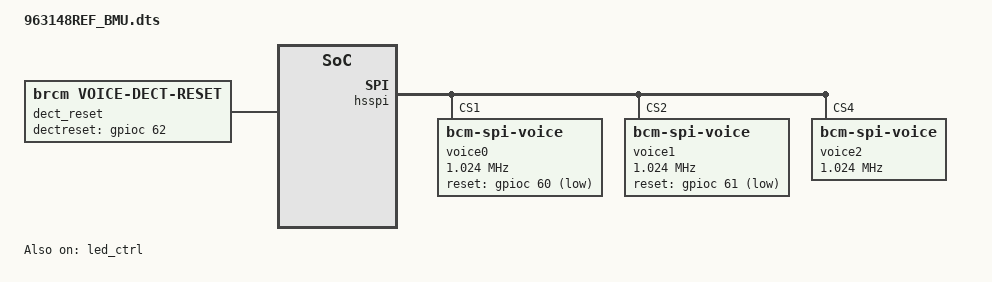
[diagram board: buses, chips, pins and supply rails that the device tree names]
#include "63148.dtsi"
#include "../bcm_voice.dtsi"

/ {
    memory_controller {
        memcfg = <(BP_DDR_SPEED_800_11_11_11 | \
                   BP_DDR_TOTAL_SIZE_1024MB  | \
                   BP_DDR_DEVICE_WIDTH_8)>;
    };

	buttons {
		compatible = "brcm,buttons";
		reset_button {
			ext_irq = <&bca_extintr 32 BCA_GPIO_ACTIVE_LOW (BCA_EXTINTR_TYPE_LOW_LEVEL | BCA_EXTINTR_TYPE_SENSE_LEVEL)>;
			press {
				print = "Button Press -- Hold for 5s to do restore to default";
			};
			hold {
				rst_to_dflt = <5>;
			};
			release {
				reset = <0>;
			};	
		};
		ses_button {
			ext_irq = <&bca_extintr 33 BCA_GPIO_ACTIVE_LOW (BCA_EXTINTR_TYPE_LOW_LEVEL | BCA_EXTINTR_TYPE_SENSE_LEVEL)>;
			release {
				ses_short_period = <0>;
				ses_long_period = <3>;
			};
		};
	};
	dect_reset:dect_reset {
		compatible = "brcm,voice-dect-reset";
		dectreset-gpio = <&gpioc 62 GPIO_ACTIVE_HIGH>;
	};
};

&bcm_voice{
	sliclist = SLICSLAC_LIST_COMMON_FXO;
 };

&hsspi {
	status = "okay";
	voice0 {
		pinctrl-0 = <&a_spim_ss1_b_pin_127>;
		pinctrl-names = "default";
		compatible = "bcm-spi-voice";
		reg = <1>; /* chip select 1 */
		spi-max-frequency = <1024000>;
		reset-gpio = <&gpioc 60 GPIO_ACTIVE_LOW>;
		spi-index = <0>;/* voice header index */
	};
	voice1 {
		pinctrl-0 = <&spim_ss2_b_pin_10>;
		pinctrl-names = "default";
		compatible = "bcm-spi-voice";
		reg = <2>; /* chip select 2 */
		spi-max-frequency = <1024000>;
		reset-gpio = <&gpioc 61 GPIO_ACTIVE_LOW>;
		spi-index = <1>;/* voice header index */
	};
	voice2 {
		pinctrl-0 = <&spim_ss4_b_pin_8>;
		pinctrl-names = "default";
		compatible = "bcm-spi-voice";
		reg = <4>; /* chip select 2 */
		spi-max-frequency = <1024000>;
		/*reset-gpio = NA;*/
		spi-index = <2>;/* voice header index */
	};
};

&legacy_leds {
	adsl-led = <&led12>;
	adsl-sec-led = <&led13>;
	wl-sess-led = <&led16>;
	voip1-ok-led = <&led17>;
	voip2-ok-led = <&led18>;
	dect-led = <&led19>;
};

&led_ctrl {
    status = "okay";
    led0: port_0-led_0-pin_0 {
        active_low;
        link = <(LED_SPEED_100)>;
        status = "okay";
    };
    led1: port_0-led_1-pin_1 {
        active_low;
        link = <(LED_SPEED_1G)>;
        status = "okay";
    };
    led2: port_1-led_0-pin_2 {
        active_low;
        link = <(LED_SPEED_100)>;
        status = "okay";
    };
    led3: port_1-led_1-pin_3 {
        active_low;
        link = <(LED_SPEED_1G)>;
        status = "okay";
    };
    led4: port_2-led_0-pin_4 {
        active_low;
        link = <(LED_SPEED_100)>;
        status = "okay";
    };
    led5: port_2-led_1-pin_5 {
        active_low;
        link = <(LED_SPEED_1G)>;
        status = "okay";
    };
    led6: port_3-led_0-pin_6 {
        active_low;
        link = <(LED_SPEED_100)>;
        status = "okay";
    };
    led7: port_3-led_1-pin_7 {
        active_low;
        link = <(LED_SPEED_1G)>;
        status = "okay";
    };
   
    led8: port_0-led_2-pin_28 {
        active_low;
	activity = <LED_SPEED_GBE>;
        status = "okay";
    };
    led9: port_1-led_2-pin_11 {
        active_low;
	activity = <LED_SPEED_GBE>;
        status = "okay";
    };
    led10: port_2-led_2-pin_12 {
        active_low;
	activity = <LED_SPEED_GBE>;
        status = "okay";
    };
    led11: port_3-led_2-pin_13 {
        active_low;
	activity = <LED_SPEED_GBE>;
        status = "okay";
    };

    led12: sw_led_17-pin_17 {
        active_low;
        status = "okay";
    };
    led13: sw_led_21-pin_21 {
        active_low;
        link = <(LED_SPEED_1G)>;
        status = "okay";
    };
    led14: sw_led_22-pin_22 {
        active_low;
        activity = <LED_SPEED_GBE>;
        status = "okay";
    };
    led15: sw_led_23-pin_23 {
        active_low;
        status = "okay";
    };
    led16: sw_led_24-pin_24 {
        active_low;
        status = "okay";
    };
    led17: sw_led_29-pin_29 {
        active_low;
        status = "okay";
    };
    led18: sw_led_30-pin_30 {
        active_low;
        status = "okay";
    };
    led19: sw_led_31-pin_31 {
        active_low;
        status = "okay";
    };

};

&vreg_sync {
		pinctrl-0 = <&vreg_clk_pin_18>;
		pinctrl-names = "default";
};

&mdio_sf2 {
	/* PHYs directly connected to SF2 */
	gphy8:8 {
		status = "okay";
	};
	gphy9:9 {
		status = "okay";
	};
	gphya:a {
		status = "okay";
	};
	gphyb:b {
		status = "okay";
	};

	/* PHYs connected to crossbar */
	gphyc:c {
		status = "okay";
	};

	/* Crossbar groups */
	xbar_grp1:1 {
		phy-handle = <&gphyc>;
		status = "okay";
	};
};

&switch_sf2 {
	ports {
		sf2_port0@0 {
			phy-handle = <&gphy8>;
			status = "okay";
		};

		sf2_port1@1 {
			phy-handle = <&gphy9>;
			status = "okay";
		};

		sf2_port2@2 {
			phy-handle = <&gphya>;
			status = "okay";
		};

		sf2_port3@3 {
			phy-handle = <&gphyb>;
			status = "okay";
		};

	};
};

&switch0 {
	ports {
		
		port0@0 {
			phy-handle = <&xbar_grp1>;
			phy-mode = "gmii";
			status = "okay";
		};
	};
};
